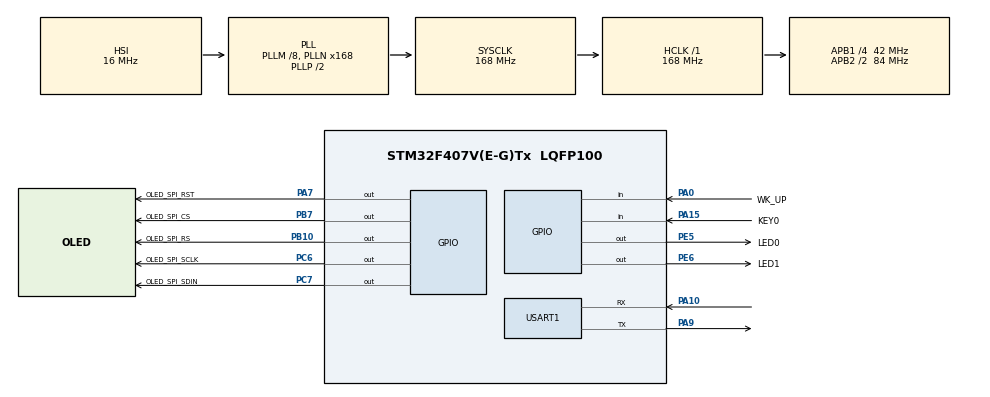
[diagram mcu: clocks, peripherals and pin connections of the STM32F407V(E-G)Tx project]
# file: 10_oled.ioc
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Mcu.Family=STM32F4
Mcu.Name=STM32F407V(E-G)Tx
Mcu.Package=LQFP100
NVIC.PriorityGroup=NVIC_PRIORITYGROUP_2
NVIC.USART1_IRQn=true\:2\:2\:true\:false\:true\:true\:true\:true
PA0-WKUP.GPIO_Label=WK_UP
PA0-WKUP.GPIO_PuPd=GPIO_PULLDOWN
PA0-WKUP.Signal=GPIO_Input
PA10.Mode=Asynchronous
PA10.Signal=USART1_RX
PA13.Mode=Serial_Wire
PA13.Signal=SYS_JTMS-SWDIO
PA14.Mode=Serial_Wire
PA14.Signal=SYS_JTCK-SWCLK
PA15.GPIO_Label=KEY0
PA15.GPIO_PuPd=GPIO_PULLDOWN
PA15.Signal=GPIO_Input
PA7.GPIO_Label=OLED_SPI_RST
PA7.GPIO_ModeDefaultOutputPP=GPIO_MODE_OUTPUT_PP
PA7.GPIO_PuPd=GPIO_PULLUP
PA7.GPIO_Speed=GPIO_SPEED_FREQ_HIGH
PA7.PinState=GPIO_PIN_SET
PA7.Signal=GPIO_Output
PA9.Mode=Asynchronous
PA9.Signal=USART1_TX
PB10.GPIO_Label=OLED_SPI_RS
PB10.GPIO_PuPd=GPIO_PULLUP
PB10.GPIO_Speed=GPIO_SPEED_FREQ_HIGH
PB10.PinState=GPIO_PIN_SET
PB10.Signal=GPIO_Output
PB7.GPIO_Label=OLED_SPI_CS
PB7.GPIO_PuPd=GPIO_PULLUP
PB7.GPIO_Speed=GPIO_SPEED_FREQ_HIGH
PB7.PinState=GPIO_PIN_SET
PB7.Signal=GPIO_Output
PC14-OSC32_IN.Mode=LSE-External-Oscillator
PC14-OSC32_IN.Signal=RCC_OSC32_IN
PC15-OSC32_OUT.Mode=LSE-External-Oscillator
PC15-OSC32_OUT.Signal=RCC_OSC32_OUT
PC6.GPIO_Label=OLED_SPI_SCLK
PC6.GPIO_PuPd=GPIO_PULLUP
PC6.GPIO_Speed=GPIO_SPEED_FREQ_HIGH
PC6.PinState=GPIO_PIN_SET
PC6.Signal=GPIO_Output
PC7.GPIO_Label=OLED_SPI_SDIN
PC7.GPIO_PuPd=GPIO_PULLUP
PC7.GPIO_Speed=GPIO_SPEED_FREQ_HIGH
PC7.PinState=GPIO_PIN_SET
PC7.Signal=GPIO_Output
PE5.GPIO_Label=LED0
PE5.GPIO_PuPd=GPIO_PULLUP
PE5.GPIO_Speed=GPIO_SPEED_FREQ_HIGH
PE5.PinState=GPIO_PIN_SET
PE5.Signal=GPIO_Output
PE6.GPIO_Label=LED1
PE6.GPIO_PuPd=GPIO_PULLUP
PE6.GPIO_Speed=GPIO_SPEED_FREQ_HIGH
PE6.PinState=GPIO_PIN_SET
PE6.Signal=GPIO_Output
PH0-OSC_IN.Mode=HSE-External-Oscillator
PH0-OSC_IN.Signal=RCC_OSC_IN
PH1-OSC_OUT.Mode=HSE-External-Oscillator
PH1-OSC_OUT.Signal=RCC_OSC_OUT
ProjectManager.HeapSize=0x200
ProjectManager.StackSize=0x400
ProjectManager.TargetToolchain=STM32CubeIDE
RCC.48MHZClocksFreq_Value=84000000
RCC.AHBFreq_Value=168000000
RCC.APB1CLKDivider=RCC_HCLK_DIV4
RCC.APB1Freq_Value=42000000
RCC.APB1TimFreq_Value=84000000
RCC.APB2CLKDivider=RCC_HCLK_DIV2
RCC.APB2Freq_Value=84000000
RCC.APB2TimFreq_Value=168000000
RCC.CortexFreq_Value=168000000
RCC.HCLKFreq_Value=168000000
RCC.HSE_VALUE=25000000
RCC.HSI_VALUE=16000000
RCC.PLLM=8
RCC.PLLN=168
RCC.SYSCLKFreq_VALUE=168000000
RCC.SYSCLKSource=RCC_SYSCLKSOURCE_PLLCLK
RCC.VCOOutputFreq_Value=336000000
USART1.VirtualMode=VM_ASYNC
board=custom

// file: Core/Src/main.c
/**
 ****************************************************************************************************
 * @file        main.c
 * @author      ALIENTEK
 * @brief       oled code
 * @license     Copyright (C) 2012-2024, ALIENTEK
 ****************************************************************************************************
 * @attention
 *
 * platform     : ALIENTEK M100-STM32F407 board
 * website      : www.alientek.com
 * forum        : www.openedv.com/forum.php
 *
 * change logs  :
 * version      data         notes
 * V1.0         20240409     the first version
 *
 ****************************************************************************************************
 */

/* USER CODE BEGIN Header */

/* USER CODE END Header */
#include "main.h"
#include "usart.h"
#include "gpio.h"

/* USER CODE BEGIN Includes */
#include "../../BSP/LED/led.h"
#include "../../BSP/KEY/key.h"
#include "../../BSP/OLED/oled.h"
/* USER CODE END Includes */

/* USER CODE BEGIN PD */
/**
 * @brief   Displays information about the experiment
 * @param   None
 * @retval  None
 */
void stm32f407vg_show_mesg(void)
{
	/* The serial port outputs the experimental information */
	printf("\n");
	printf("********************************\r\n");
	printf("STM32F407\r\n");
	printf("OLED Test\r\n");
	printf("ATOM@ALIENTEK\r\n");
	printf("********************************\r\n");
	printf("\r\n");
}
/* USER CODE END PD */

void SystemClock_Config(void);

int main(void)
{
  /* USER CODE BEGIN 1 */
  uint8_t t = ' ';
  /* USER CODE END 1 */

  /* MCU Configuration--------------------------------------------------------*/

  /* Reset of all peripherals, Initializes the Flash interface and the Systick. */
  HAL_Init();

  /* Configure the system clock */
  SystemClock_Config();

  /* Initialize all configured peripherals */
  MX_GPIO_Init();
  MX_USART1_UART_Init();
  /* USER CODE BEGIN 2 */
  oled_init();
  stm32f407vg_show_mesg();

  oled_show_string(0, 0, "ALIENTEK", 24);
  oled_show_string(0, 24, "0.96' OLED TEST", 16);
  oled_show_string(0, 40, "ATOM 2024/04/22", 12);
  oled_show_string(0, 52, "ASCII:", 12);
  oled_show_string(64, 52, "CODE:", 12);
  oled_refresh_gram();                            /* Update video memory to OLED */
  /* USER CODE END 2 */

  /* Infinite loop */
  /* USER CODE BEGIN WHILE */
  while (1)
  {
	  oled_show_char(36, 52, t, 12, 1);           /* Display ASCII characters */
	  oled_show_num(94, 52, t, 3, 12);            /* Displays the code value of an ASCII character */
	  oled_refresh_gram();                        /* Update video memory to OLED */

	  if (++t > '~')
	  {
	     t = ' ';
	  }

	  LED0_TOGGLE();
	  HAL_Delay(500);
    /* USER CODE END WHILE */

  }
}

void SystemClock_Config(void)
{
  RCC_OscInitTypeDef RCC_OscInitStruct = {0};
  RCC_ClkInitTypeDef RCC_ClkInitStruct = {0};

  /** Configure the main internal regulator output voltage
  */
  __HAL_RCC_PWR_CLK_ENABLE();
  __HAL_PWR_VOLTAGESCALING_CONFIG(PWR_REGULATOR_VOLTAGE_SCALE1);

  /** Initializes the RCC Oscillators according to the specified parameters
  * in the RCC_OscInitTypeDef structure.
  */
  RCC_OscInitStruct.OscillatorType = RCC_OSCILLATORTYPE_HSI;
  RCC_OscInitStruct.HSIState = RCC_HSI_ON;
  RCC_OscInitStruct.HSICalibrationValue = RCC_HSICALIBRATION_DEFAULT;
  RCC_OscInitStruct.PLL.PLLState = RCC_PLL_ON;
  RCC_OscInitStruct.PLL.PLLSource = RCC_PLLSOURCE_HSI;
  RCC_OscInitStruct.PLL.PLLM = 8;
  RCC_OscInitStruct.PLL.PLLN = 168;
  RCC_OscInitStruct.PLL.PLLP = RCC_PLLP_DIV2;
  RCC_OscInitStruct.PLL.PLLQ = 4;
  if (HAL_RCC_OscConfig(&RCC_OscInitStruct) != HAL_OK)
  {
    Error_Handler();
  }

  /** Initializes the CPU, AHB and APB buses clocks
  */
  RCC_ClkInitStruct.ClockType = RCC_CLOCKTYPE_HCLK|RCC_CLOCKTYPE_SYSCLK
                              |RCC_CLOCKTYPE_PCLK1|RCC_CLOCKTYPE_PCLK2;
  RCC_ClkInitStruct.SYSCLKSource = RCC_SYSCLKSOURCE_PLLCLK;
  RCC_ClkInitStruct.AHBCLKDivider = RCC_SYSCLK_DIV1;
  RCC_ClkInitStruct.APB1CLKDivider = RCC_HCLK_DIV4;
  RCC_ClkInitStruct.APB2CLKDivider = RCC_HCLK_DIV2;

  if (HAL_RCC_ClockConfig(&RCC_ClkInitStruct, FLASH_LATENCY_5) != HAL_OK)
  {
    Error_Handler();
  }
}

void Error_Handler(void)
{
  __disable_irq();
  while (1)
  {
  }
}
